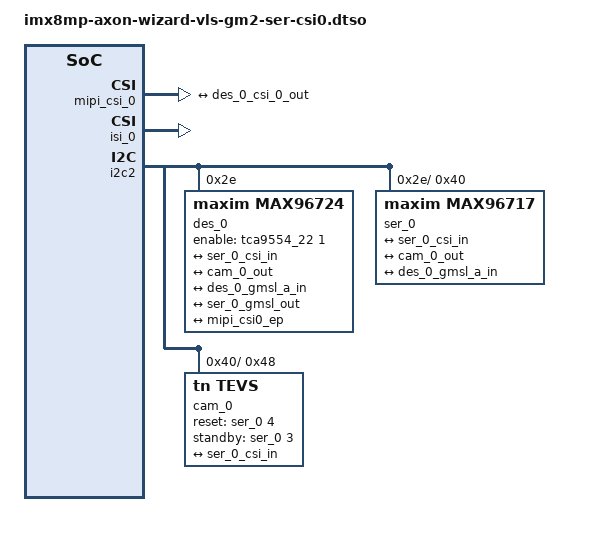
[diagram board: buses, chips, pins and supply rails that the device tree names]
// SPDX-License-Identifier: (GPL-2.0 OR MIT)
/*
 * Copyright 2024 TechNexion Ltd.
 *
 * Author: Nian Yang <nian.yang@technexion.com>
 *
 */

/dts-v1/;
/plugin/;

#include <dt-bindings/interrupt-controller/irq.h>
#include <dt-bindings/clock/imx8mp-clock.h>
#include <dt-bindings/gpio/gpio.h>

/*
 * MIPI CSI hs_settle = (lane_rate - 5 MHz) / 45 MHz
 *                    = (1500 - 5) / 45
 *                    = 33
 */
&mipi_csi_0 {
	#address-cells = <1>;
	#size-cells = <0>;
	status = "okay";

	port {
		mipi_csi0_ep: endpoint {
			remote-endpoint = <&des_0_csi_0_out>;
			data-lanes = <4>;
			csis-hs-settle = <33>;
			csis-clk-settle = <2>;
		};
	};
};

&isi_0 {
	status = "okay";


	cap_device {
		status = "okay";
		fsl,stream-on-downstream-first;
	};

	m2m_device{
		status = "okay";
	};
};

&i2c2 {
	#address-cells = <1>;
	#size-cells = <0>;

	des_0: max96724@2e {
		compatible = "maxim,max96724";
		reg = <0x2e>;
		status = "okay";

		#address-cells = <1>;
		#size-cells = <0>;

		enable-gpios = <&tca9554_22 1 GPIO_ACTIVE_HIGH>;

		i2c-alias-pool = <0x41 0x42 0x43 0x44>;

		i2c-atr {
			#address-cells = <1>;
			#size-cells = <0>;

			des_0_i2c_0: i2c@0 {
				#address-cells = <1>;
				#size-cells = <0>;
				reg = <0>;
			};
		};

		ports {
			#address-cells = <1>;
			#size-cells = <0>;

			port@0 {
				#address-cells = <1>;
				#size-cells = <0>;
				reg = <0>;

				des_0_gmsl_a_in: endpoint@0 {
					remote-endpoint = <&ser_0_gmsl_out>;
				};
			};

			port@4 {
				#address-cells = <1>;
				#size-cells = <0>;
				reg = <4>;

				des_0_csi_0_out: endpoint@0 {
					data-lanes = <1 2 3 4>;
					clock-lanes = <0>;
					bus-type = <4>;
					link-frequencies = /bits/ 64 <750000000>;
					remote-endpoint = <&mipi_csi0_ep>;
				};
			};
		};
	};
};

&des_0_i2c_0 {
	ser_0: serializer@40 {
		compatible = "maxim,max96717";
		reg = <0x40>;

		gpio-controller;
		#gpio-cells = <2>;
		#clock-cells = <0>;

		i2c-alias-pool = <0x29 0x5f>;

		pinctrl-names = "default";
		pinctrl-0 = <&ser_0_fsync &ser_0_standby
			     &ser_0_reset &ser_0_ext_en>;

		ser_0_fsync: mfp0-pins {
			pins = "mfp0";
			function = "gpio";
			maxim,rx-id = <0>;
			output-enable;
			output-low;
		};

		ser_0_standby: mfp3-pins {
			pins = "mfp3";
			function = "gpio";
			output-enable;
			output-low;
		};

		ser_0_reset: mfp4-pins {
			pins = "mfp4";
			function = "gpio";
			output-enable;
			output-low;
		};

		ser_0_ext_en: mfp8-pins {
			pins = "mfp8";
			function = "gpio";
			output-enable;
			output-high;
		};

		i2c-atr {
			#address-cells = <1>;
			#size-cells = <0>;

			i2c@0 {
				#address-cells = <1>;
				#size-cells = <0>;
				reg = <0>;

				cam_0: tevs@48 {
					compatible = "tn,tevs";
					reg = <0x48>;
					status = "okay";
					reset-gpios = <&ser_0 4 GPIO_ACTIVE_HIGH>;
					standby-gpios = <&ser_0 3 GPIO_ACTIVE_HIGH>;

					port {
						cam_0_out: endpoint {
							remote-endpoint = <&ser_0_csi_in>;
							data-lanes = <1 2 3 4>;
							clock-lanes = <0>;
							link-frequencies = /bits/ 64 <400000000>;
						};
					};
				};

			};
		};

		ports {
			#address-cells = <1>;
			#size-cells = <0>;

			port@0 {
				#address-cells = <1>;
				#size-cells = <0>;
				reg = <0>;
				ser_0_csi_in: endpoint {
					data-lanes = <1 2 3 4>;
					remote-endpoint = <&cam_0_out>;
				};
			};

			port@1 {
				reg = <1>;
				ser_0_gmsl_out: endpoint {
					remote-endpoint = <&des_0_gmsl_a_in>;
				};
			};
		};
	};
};
